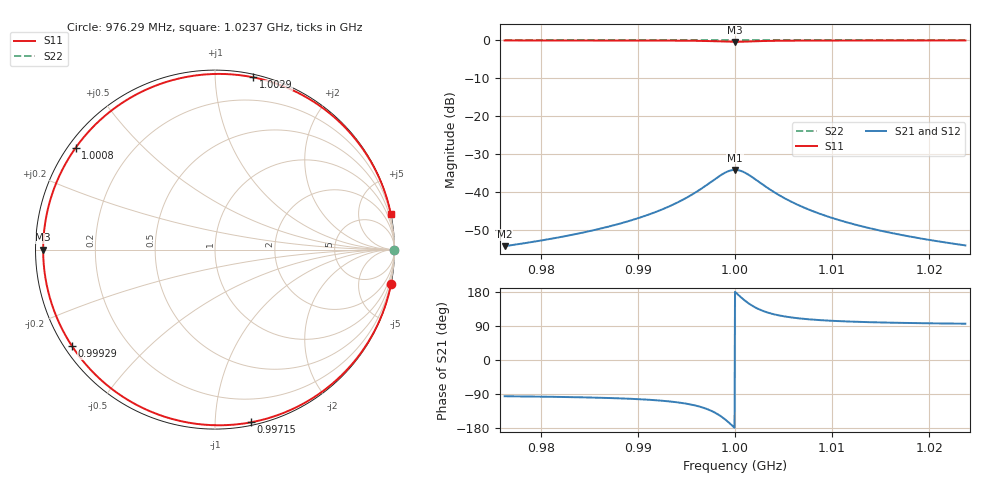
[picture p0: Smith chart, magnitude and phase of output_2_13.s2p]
! File generated for n1 = 2, n2 = 13
! b1 = 46.415888
! b2 = 0.004642
! Q0 = 10000.000000
! f0 = 1000000000.000000
! n = 1001
! rel_span = 10.000000
# Hz S RI R 50
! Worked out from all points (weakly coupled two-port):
!   1001 points, 976.29 MHz to 1.0237 GHz, reference 50 ohm
!   highest |S21| = -34.17 dB at 1 GHz (marker M1); lowest = -54.3 dB at 976.29 MHz (marker M2)
!   lowest |S11| = -0.4 dB at 1 GHz (marker M3), VSWR 46.20, Z = 1.08 + j0 ohm
!   |S11| at or under -10 dB: nowhere
!   |S22| runs from 0.0 to 0.0 dB; largest |S21 - S12| = 0
!   S11 on the Smith chart (normalised r, x): 976.29 MHz: 0, -10; 997.15 MHz: 0.02, -1.23; 999.29 MHz: 0.02, -0.31; 1.0008 GHz: 0.02, +0.33; 1.0029 GHz: 0.02, +1.24; 1.0237 GHz: 0, +10
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9.762897e8  0.9811 -0.1915  -0.000189 -0.00192  -0.000189 -0.00192  1 -1.92e-05
9.84209e8  0.9575 -0.2853  -0.000425 -0.00285  -0.000425 -0.00285  1 -2.85e-05
9.887139e8  0.9181 -0.3918  -0.000819 -0.00392  -0.000819 -0.00392  1 -3.92e-05
9.921282e8  0.8383 -0.5388  -0.00162 -0.00539  -0.00162 -0.00539  1 -5.39e-05
9.951631e8  0.6222 -0.7726  -0.00378 -0.00773  -0.00378 -0.00773  1 -7.73e-05
9.962538e8  0.4416 -0.8839  -0.00558 -0.00884  -0.00558 -0.00884  0.9999 -8.84e-05
9.971548e8  0.199 -0.9625  -0.00801 -0.00963  -0.00801 -0.00963  0.9999 -9.63e-05
9.983403e8  -0.3131 -0.92  -0.0131 -0.0092  -0.0131 -0.0092  0.9999 -9.2e-05
9.988145e8  -0.5657 -0.7833  -0.0157 -0.00783  -0.0157 -0.00783  0.9998 -7.83e-05
9.992887e8  -0.7959 -0.539  -0.018 -0.00539  -0.018 -0.00539  0.9998 -5.39e-05
1e9  -0.9576 0  -0.0196 0  -0.0196 0  0.9998 0
1.000379e9  -0.9088 0.3053  -0.0191 0.00305  -0.0191 0.00305  0.9998 3.05e-05
1.000759e9  -0.7759 0.5681  -0.0178 0.00568  -0.0178 0.00568  0.9998 5.68e-05
1.001186e9  -0.5665 0.7828  -0.0157 0.00783  -0.0157 0.00783  0.9998 7.83e-05
1.00166e9  -0.3146 0.9194  -0.0131 0.00919  -0.0131 0.00919  0.9999 9.19e-05
1.002181e9  -0.0613 0.9753  -0.0106 0.00975  -0.0106 0.00975  0.9999 9.75e-05
1.002893e9  0.2119 0.96  -0.00788 0.0096  -0.00788 0.0096  0.9999 9.6e-05
1.003794e9  0.4486 0.8806  -0.00551 0.00881  -0.00551 0.00881  0.9999 8.81e-05
1.004884e9  0.6252 0.7702  -0.00375 0.0077  -0.00375 0.0077  1 7.7e-05
1.007919e9  0.8378 0.5397  -0.00162 0.0054  -0.00162 0.0054  1 5.4e-05
1.015838e9  0.9564 0.2888  -0.000436 0.00289  -0.000436 0.00289  1 2.89e-05
1.02371e9  0.9802 0.196  -0.000198 0.00196  -0.000198 0.00196  1 1.96e-05
